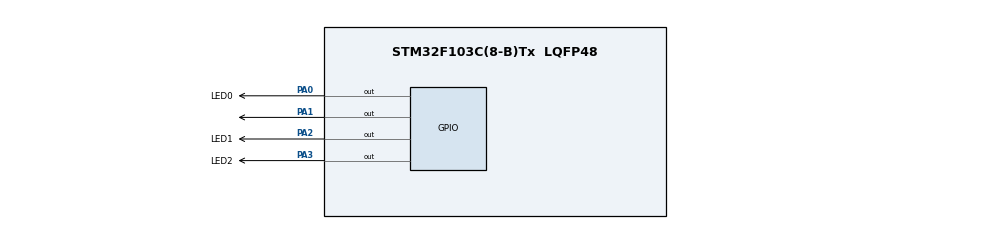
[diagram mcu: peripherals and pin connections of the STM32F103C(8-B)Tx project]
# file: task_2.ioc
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Mcu.Family=STM32F1
Mcu.Name=STM32F103C(8-B)Tx
Mcu.Package=LQFP48
NVIC.PriorityGroup=NVIC_PRIORITYGROUP_4
PA0-WKUP.GPIO_Label=LED0
PA0-WKUP.Signal=GPIO_Output
PA1.Signal=GPIO_Output
PA13.Mode=Serial_Wire
PA13.Signal=SYS_JTMS-SWDIO
PA14.Mode=Serial_Wire
PA14.Signal=SYS_JTCK-SWCLK
PA2.GPIO_Label=LED1
PA2.Signal=GPIO_Output
PA3.GPIO_Label=LED2
PA3.Signal=GPIO_Output
PC14-OSC32_IN.Mode=LSE-External-Oscillator
PC14-OSC32_IN.Signal=RCC_OSC32_IN
PC15-OSC32_OUT.Mode=LSE-External-Oscillator
PC15-OSC32_OUT.Signal=RCC_OSC32_OUT
PD0-OSC_IN.Mode=HSE-External-Oscillator
PD0-OSC_IN.Signal=RCC_OSC_IN
PD1-OSC_OUT.Mode=HSE-External-Oscillator
PD1-OSC_OUT.Signal=RCC_OSC_OUT
ProjectManager.HeapSize=0x200
ProjectManager.StackSize=0x400
ProjectManager.TargetToolchain=STM32CubeIDE
RCC.APB1Freq_Value=8000000
RCC.APB2Freq_Value=8000000
board=custom

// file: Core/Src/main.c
/* USER CODE BEGIN Header */
/**
  ******************************************************************************
  * @file           : main.c
  * @brief          : Main program body
  ******************************************************************************
  * @attention
  *
  * Copyright (c) 2026 STMicroelectronics.
  * All rights reserved.
  *
  * This software is licensed under terms that can be found in the LICENSE file
  * in the root directory of this software component.
  * If no LICENSE file comes with this software, it is provided AS-IS.
  *
  ******************************************************************************
  */
/* USER CODE END Header */
#include "main.h"
#include "gpio.h"

void SystemClock_Config(void);

int main(void)
{

  /* MCU Configuration--------------------------------------------------------*/

  /* Reset of all peripherals, Initializes the Flash interface and the Systick. */
  HAL_Init();

  /* Configure the system clock */
  SystemClock_Config();

  /* Initialize all configured peripherals */
  MX_GPIO_Init();

  /* Infinite loop */
  /* USER CODE BEGIN WHILE */
  uint8_t led_state = 0;
  uint32_t last_time = 0;
  while (1)
  {
    if (HAL_GetTick()-last_time>=500)//计算时间间隔
    {
      last_time=HAL_GetTick();//更新计时器
      //切换状态
      if (led_state==0)
      {
        HAL_GPIO_WritePin(LED0_GPIO_Port,LED0_Pin,GPIO_PIN_RESET);
        HAL_GPIO_WritePin(LED1_GPIO_Port,LED1_Pin,GPIO_PIN_SET);
        HAL_GPIO_WritePin(LED2_GPIO_Port,LED2_Pin,GPIO_PIN_SET);
        led_state=1;
      }
      else if (led_state==1)
      {
        HAL_GPIO_WritePin(LED0_GPIO_Port,LED0_Pin,GPIO_PIN_SET);
        HAL_GPIO_WritePin(LED1_GPIO_Port,LED1_Pin,GPIO_PIN_RESET);
        HAL_GPIO_WritePin(LED2_GPIO_Port,LED2_Pin,GPIO_PIN_SET);
        led_state=2;
      }
      else
      {
        HAL_GPIO_WritePin(LED0_GPIO_Port,LED0_Pin,GPIO_PIN_SET);
        HAL_GPIO_WritePin(LED1_GPIO_Port,LED1_Pin,GPIO_PIN_SET);
        HAL_GPIO_WritePin(LED2_GPIO_Port,LED2_Pin,GPIO_PIN_RESET);
        led_state=0;
      }
    }
  }
}

    /* USER CODE END WHILE */

void SystemClock_Config(void)
{
  RCC_OscInitTypeDef RCC_OscInitStruct = {0};
  RCC_ClkInitTypeDef RCC_ClkInitStruct = {0};

  /** Initializes the RCC Oscillators according to the specified parameters
  * in the RCC_OscInitTypeDef structure.
  */
  RCC_OscInitStruct.OscillatorType = RCC_OSCILLATORTYPE_HSI;
  RCC_OscInitStruct.HSIState = RCC_HSI_ON;
  RCC_OscInitStruct.HSICalibrationValue = RCC_HSICALIBRATION_DEFAULT;
  RCC_OscInitStruct.PLL.PLLState = RCC_PLL_NONE;
  if (HAL_RCC_OscConfig(&RCC_OscInitStruct) != HAL_OK)
  {
    Error_Handler();
  }

  /** Initializes the CPU, AHB and APB buses clocks
  */
  RCC_ClkInitStruct.ClockType = RCC_CLOCKTYPE_HCLK|RCC_CLOCKTYPE_SYSCLK
                              |RCC_CLOCKTYPE_PCLK1|RCC_CLOCKTYPE_PCLK2;
  RCC_ClkInitStruct.SYSCLKSource = RCC_SYSCLKSOURCE_HSI;
  RCC_ClkInitStruct.AHBCLKDivider = RCC_SYSCLK_DIV1;
  RCC_ClkInitStruct.APB1CLKDivider = RCC_HCLK_DIV1;
  RCC_ClkInitStruct.APB2CLKDivider = RCC_HCLK_DIV1;

  if (HAL_RCC_ClockConfig(&RCC_ClkInitStruct, FLASH_LATENCY_0) != HAL_OK)
  {
    Error_Handler();
  }
}

void Error_Handler(void)
{
  __disable_irq();
  while (1)
  {
  }
}
